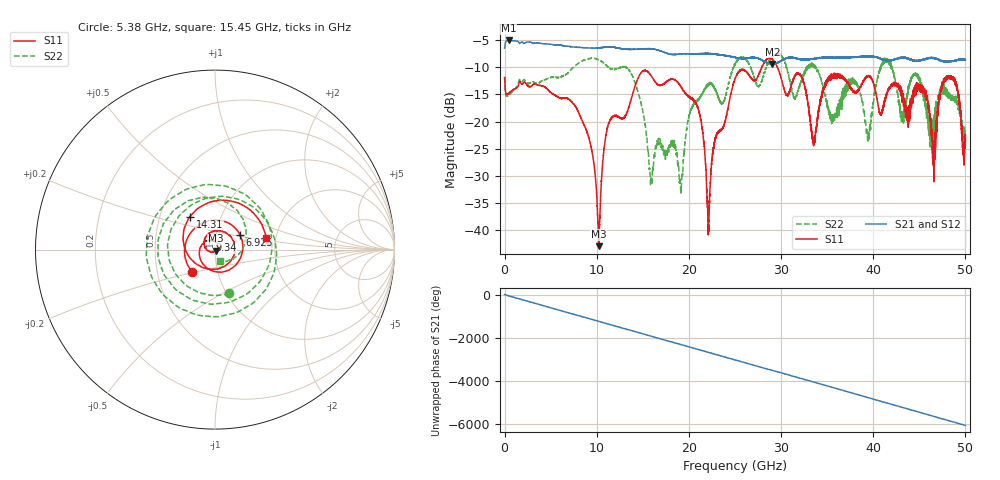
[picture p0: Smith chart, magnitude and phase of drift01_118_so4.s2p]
!Created with skrf (http://scikit-rf.org).
# Hz S RI R 50.0
!freq ReS11 ImS11 ReS21 ImS21 ReS12 ImS12 ReS22 ImS22
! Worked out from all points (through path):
!   10001 points, 300 kHz to 50 GHz, reference 50 ohm
!   highest |S21| = -5.05 dB at 425.3 MHz (marker M1); lowest = -9.4 dB at 29.07 GHz (marker M2)
!   group delay of S21, straight-line fit = 336 ps
!   lowest |S11| = -43.0 dB at 10.23 GHz (marker M3), VSWR 1.01, Z = 50.4 - j0.558 ohm
!   |S11| at or under -10 dB: start of sweep to 27.91 GHz; 29.6 GHz to end of sweep
!   |S22| runs from -33.2 to -7.5 dB; largest |S21 - S12| = 0.014
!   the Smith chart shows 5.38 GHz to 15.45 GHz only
!   S11 on the Smith chart (normalised r, x): 5.38 GHz: 0.76, -0.19; 6.925 GHz: 1.30, +0.22; 9.34 GHz: 0.93, +0.10; 14.31 GHz: 0.71, +0.28; 15.45 GHz: 1.78, +0.25
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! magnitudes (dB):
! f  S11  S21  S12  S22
! 300 kHz  -11.9  -6.5  -6.6  -11.8
! 425.3 MHz  -14.8  -5.1  -5.1  -15.1
! 5.38 GHz  -15.0  -5.9  -5.8  -11.8
! 6.925 GHz  -15.9  -6.1  -6.1  -11.0
! 8.335 GHz  -19.5  -6.3  -6.4  -8.9
! 9.34 GHz  -24.3  -6.4  -6.5  -8.4
! 10.23 GHz  -43.0  -6.4  -6.4  -8.6
! 11.24 GHz  -20.6  -6.2  -6.2  -10.0
! 14.31 GHz  -12.7  -6.7  -6.7  -13.6
! 15.45 GHz  -10.7  -6.6  -6.6  -23.0
! 16.67 GHz  -13.2  -6.9  -6.8  -23.4
! 19.14 GHz  -13.6  -7.5  -7.6  -33.1
! 20.86 GHz  -17.0  -7.5  -7.5  -16.2
! 22.12 GHz  -40.9  -7.5  -7.5  -13.3
! 25 GHz  -12.1  -8.2  -8.2  -9.5
! 29.07 GHz  -8.6  -9.4  -9.4  -8.0
! 33.34 GHz  -22.6  -8.5  -8.4  -9.6
! 39.47 GHz  -11.7  -8.0  -7.9  -22.1
! 41.67 GHz  -13.9  -8.7  -8.7  -9.0
! 46.55 GHz  -26.5  -8.3  -8.3  -19.8
! 48.58 GHz  -12.2  -8.9  -8.9  -15.6
! 50 GHz  -24.3  -8.6  -8.7  -22.9
